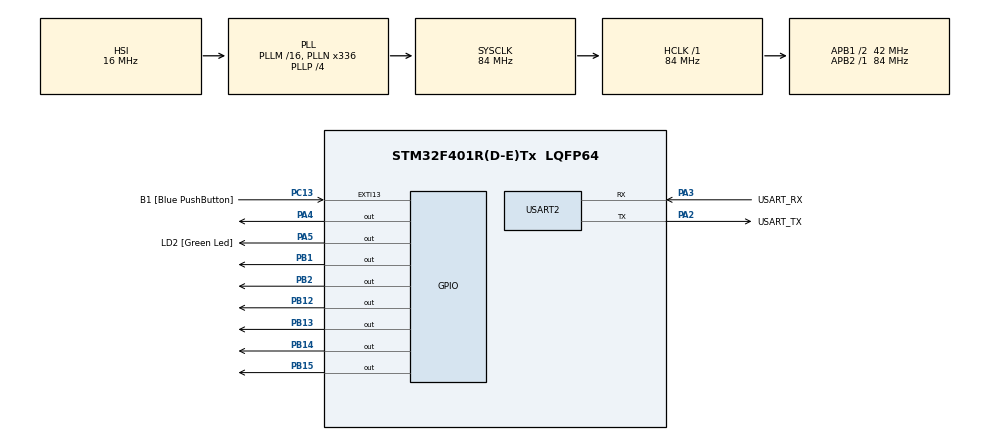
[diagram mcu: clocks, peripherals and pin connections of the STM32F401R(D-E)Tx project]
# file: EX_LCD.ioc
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Mcu.Family=STM32F4
Mcu.Name=STM32F401R(D-E)Tx
Mcu.Package=LQFP64
NVIC.PriorityGroup=NVIC_PRIORITYGROUP_0
PA13.GPIO_Label=TMS
PA13.Mode=Serial_Wire
PA13.Signal=SYS_JTMS-SWDIO
PA14.GPIO_Label=TCK
PA14.Mode=Serial_Wire
PA14.Signal=SYS_JTCK-SWCLK
PA2.GPIO_Label=USART_TX
PA2.GPIO_Mode=GPIO_MODE_AF_PP
PA2.GPIO_PuPd=GPIO_NOPULL
PA2.GPIO_Speed=GPIO_SPEED_FREQ_LOW
PA2.Mode=Asynchronous
PA2.Signal=USART2_TX
PA3.GPIO_Label=USART_RX
PA3.GPIO_Mode=GPIO_MODE_AF_PP
PA3.GPIO_PuPd=GPIO_NOPULL
PA3.GPIO_Speed=GPIO_SPEED_FREQ_LOW
PA3.Mode=Asynchronous
PA3.Signal=USART2_RX
PA4.Signal=GPIO_Output
PA5.GPIO_Label=LD2 [Green Led]
PA5.GPIO_Mode=GPIO_MODE_OUTPUT_PP
PA5.GPIO_PuPd=GPIO_NOPULL
PA5.GPIO_Speed=GPIO_SPEED_FREQ_LOW
PA5.Signal=GPIO_Output
PB1.Signal=GPIO_Output
PB12.Signal=GPIO_Output
PB13.Signal=GPIO_Output
PB14.Signal=GPIO_Output
PB15.Signal=GPIO_Output
PB2.Signal=GPIO_Output
PB3.GPIO_Label=SWO
PB3.Signal=SYS_JTDO-SWO
PC13-ANTI_TAMP.GPIO_Label=B1 [Blue PushButton]
PC13-ANTI_TAMP.GPIO_ModeDefaultEXTI=GPIO_MODE_IT_FALLING
PC13-ANTI_TAMP.GPIO_PuPd=GPIO_NOPULL
PC13-ANTI_TAMP.Signal=GPXTI13
PC14-OSC32_IN.Mode=LSE-External-Oscillator
PC14-OSC32_IN.Signal=RCC_OSC32_IN
PC15-OSC32_OUT.Mode=LSE-External-Oscillator
PC15-OSC32_OUT.Signal=RCC_OSC32_OUT
PH0\ -\ OSC_IN.Mode=HSE-External-Clock-Source
PH0\ -\ OSC_IN.Signal=RCC_OSC_IN
PH1\ -\ OSC_OUT.Mode=HSE-External-Clock-Source
PH1\ -\ OSC_OUT.Signal=RCC_OSC_OUT
ProjectManager.HeapSize=0x200
ProjectManager.StackSize=0x400
ProjectManager.TargetToolchain=STM32CubeIDE
RCC.48MHZClocksFreq_Value=48000000
RCC.AHBFreq_Value=84000000
RCC.APB1CLKDivider=RCC_HCLK_DIV2
RCC.APB1Freq_Value=42000000
RCC.APB1TimFreq_Value=84000000
RCC.APB2Freq_Value=84000000
RCC.APB2TimFreq_Value=84000000
RCC.CortexFreq_Value=84000000
RCC.HCLKFreq_Value=84000000
RCC.HSE_VALUE=8000000
RCC.HSI_VALUE=16000000
RCC.PLLN=336
RCC.PLLP=RCC_PLLP_DIV4
RCC.PLLQ=7
RCC.SYSCLKFreq_VALUE=84000000
RCC.SYSCLKSource=RCC_SYSCLKSOURCE_PLLCLK
RCC.VCOOutputFreq_Value=336000000
USART2.VirtualMode=VM_ASYNC
board=NUCLEO-F401RE

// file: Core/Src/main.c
/* USER CODE BEGIN Header */
/**
  ******************************************************************************
  * @file           : main.c
  * @brief          : Main program body
  ******************************************************************************
  * @attention
  *
  * Copyright (c) 2022 STMicroelectronics.
  * All rights reserved.
  *
  * This software is licensed under terms that can be found in the LICENSE file
  * in the root directory of this software component.
  * If no LICENSE file comes with this software, it is provided AS-IS.
  *
  ******************************************************************************
  */
/* USER CODE END Header */
#include "main.h"
#include "PMDB16_LCD.h"

UART_HandleTypeDef huart2;

void SystemClock_Config(void);
static void MX_GPIO_Init(void);
static void MX_USART2_UART_Init(void);

int main(void)
{

  /* MCU Configuration--------------------------------------------------------*/

  /* Reset of all peripherals, Initializes the Flash interface and the Systick. */
  HAL_Init();

  /* Configure the system clock */
  SystemClock_Config();

  /* Initialize all configured peripherals */
  MX_GPIO_Init();
  MX_USART2_UART_Init();
  /* USER CODE BEGIN 2 */
  lcd_initialize();
  lcd_backlight_ON();

  char strings[5][64];
  snprintf(strings[0], sizeof(strings[0]), "Dario");
  snprintf(strings[1], sizeof(strings[1]), "Erica");
  snprintf(strings[2], sizeof(strings[2]), "Nicolo'");
  snprintf(strings[3], sizeof(strings[3]), "Sara");
  snprintf(strings[4], sizeof(strings[4]), "Simone");

  //1 = bottom row , 0 = top row
  lcd_println(strings[0], 1);
  HAL_Delay(1000);

  /* USER CODE END 2 */

  /* Infinite loop */
  /* USER CODE BEGIN WHILE */
  while (1)
  {
	  for(int i=0;i<4;i++)
	  {
		  lcd_println(strings[i],0);
		  lcd_println(strings[i+1],1);
		  HAL_Delay(1000);
	  }
	  lcd_println(strings[4], 0);
	  lcd_println(strings[0], 1);
	  HAL_Delay(1000);
    /* USER CODE END WHILE */

  }
}

void SystemClock_Config(void)
{
  RCC_OscInitTypeDef RCC_OscInitStruct = {0};
  RCC_ClkInitTypeDef RCC_ClkInitStruct = {0};

  /** Configure the main internal regulator output voltage
  */
  __HAL_RCC_PWR_CLK_ENABLE();
  __HAL_PWR_VOLTAGESCALING_CONFIG(PWR_REGULATOR_VOLTAGE_SCALE2);
  /** Initializes the RCC Oscillators according to the specified parameters
  * in the RCC_OscInitTypeDef structure.
  */
  RCC_OscInitStruct.OscillatorType = RCC_OSCILLATORTYPE_HSI;
  RCC_OscInitStruct.HSIState = RCC_HSI_ON;
  RCC_OscInitStruct.HSICalibrationValue = RCC_HSICALIBRATION_DEFAULT;
  RCC_OscInitStruct.PLL.PLLState = RCC_PLL_ON;
  RCC_OscInitStruct.PLL.PLLSource = RCC_PLLSOURCE_HSI;
  RCC_OscInitStruct.PLL.PLLM = 16;
  RCC_OscInitStruct.PLL.PLLN = 336;
  RCC_OscInitStruct.PLL.PLLP = RCC_PLLP_DIV4;
  RCC_OscInitStruct.PLL.PLLQ = 7;
  if (HAL_RCC_OscConfig(&RCC_OscInitStruct) != HAL_OK)
  {
    Error_Handler();
  }
  /** Initializes the CPU, AHB and APB buses clocks
  */
  RCC_ClkInitStruct.ClockType = RCC_CLOCKTYPE_HCLK|RCC_CLOCKTYPE_SYSCLK
                              |RCC_CLOCKTYPE_PCLK1|RCC_CLOCKTYPE_PCLK2;
  RCC_ClkInitStruct.SYSCLKSource = RCC_SYSCLKSOURCE_PLLCLK;
  RCC_ClkInitStruct.AHBCLKDivider = RCC_SYSCLK_DIV1;
  RCC_ClkInitStruct.APB1CLKDivider = RCC_HCLK_DIV2;
  RCC_ClkInitStruct.APB2CLKDivider = RCC_HCLK_DIV1;

  if (HAL_RCC_ClockConfig(&RCC_ClkInitStruct, FLASH_LATENCY_2) != HAL_OK)
  {
    Error_Handler();
  }
}

static void MX_USART2_UART_Init(void)
{

  huart2.Instance = USART2;
  huart2.Init.BaudRate = 115200;
  huart2.Init.WordLength = UART_WORDLENGTH_8B;
  huart2.Init.StopBits = UART_STOPBITS_1;
  huart2.Init.Parity = UART_PARITY_NONE;
  huart2.Init.Mode = UART_MODE_TX_RX;
  huart2.Init.HwFlowCtl = UART_HWCONTROL_NONE;
  huart2.Init.OverSampling = UART_OVERSAMPLING_16;
  if (HAL_UART_Init(&huart2) != HAL_OK)
  {
    Error_Handler();
  }

}

static void MX_GPIO_Init(void)
{
  GPIO_InitTypeDef GPIO_InitStruct = {0};

  /* GPIO Ports Clock Enable */
  __HAL_RCC_GPIOC_CLK_ENABLE();
  __HAL_RCC_GPIOH_CLK_ENABLE();
  __HAL_RCC_GPIOA_CLK_ENABLE();
  __HAL_RCC_GPIOB_CLK_ENABLE();

  /*Configure GPIO pin Output Level */
  HAL_GPIO_WritePin(GPIOA, GPIO_PIN_4|LD2_Pin, GPIO_PIN_RESET);

  /*Configure GPIO pin Output Level */
  HAL_GPIO_WritePin(GPIOB, GPIO_PIN_1|GPIO_PIN_2|GPIO_PIN_12|GPIO_PIN_13
                          |GPIO_PIN_14|GPIO_PIN_15, GPIO_PIN_RESET);

  /*Configure GPIO pin : B1_Pin */
  GPIO_InitStruct.Pin = B1_Pin;
  GPIO_InitStruct.Mode = GPIO_MODE_IT_FALLING;
  GPIO_InitStruct.Pull = GPIO_NOPULL;
  HAL_GPIO_Init(B1_GPIO_Port, &GPIO_InitStruct);

  /*Configure GPIO pins : PA4 LD2_Pin */
  GPIO_InitStruct.Pin = GPIO_PIN_4|LD2_Pin;
  GPIO_InitStruct.Mode = GPIO_MODE_OUTPUT_PP;
  GPIO_InitStruct.Pull = GPIO_NOPULL;
  GPIO_InitStruct.Speed = GPIO_SPEED_FREQ_LOW;
  HAL_GPIO_Init(GPIOA, &GPIO_InitStruct);

  /*Configure GPIO pins : PB1 PB2 PB12 PB13
                           PB14 PB15 */
  GPIO_InitStruct.Pin = GPIO_PIN_1|GPIO_PIN_2|GPIO_PIN_12|GPIO_PIN_13
                          |GPIO_PIN_14|GPIO_PIN_15;
  GPIO_InitStruct.Mode = GPIO_MODE_OUTPUT_PP;
  GPIO_InitStruct.Pull = GPIO_NOPULL;
  GPIO_InitStruct.Speed = GPIO_SPEED_FREQ_LOW;
  HAL_GPIO_Init(GPIOB, &GPIO_InitStruct);

}

void Error_Handler(void)
{
  __disable_irq();
  while (1)
  {
  }
}
